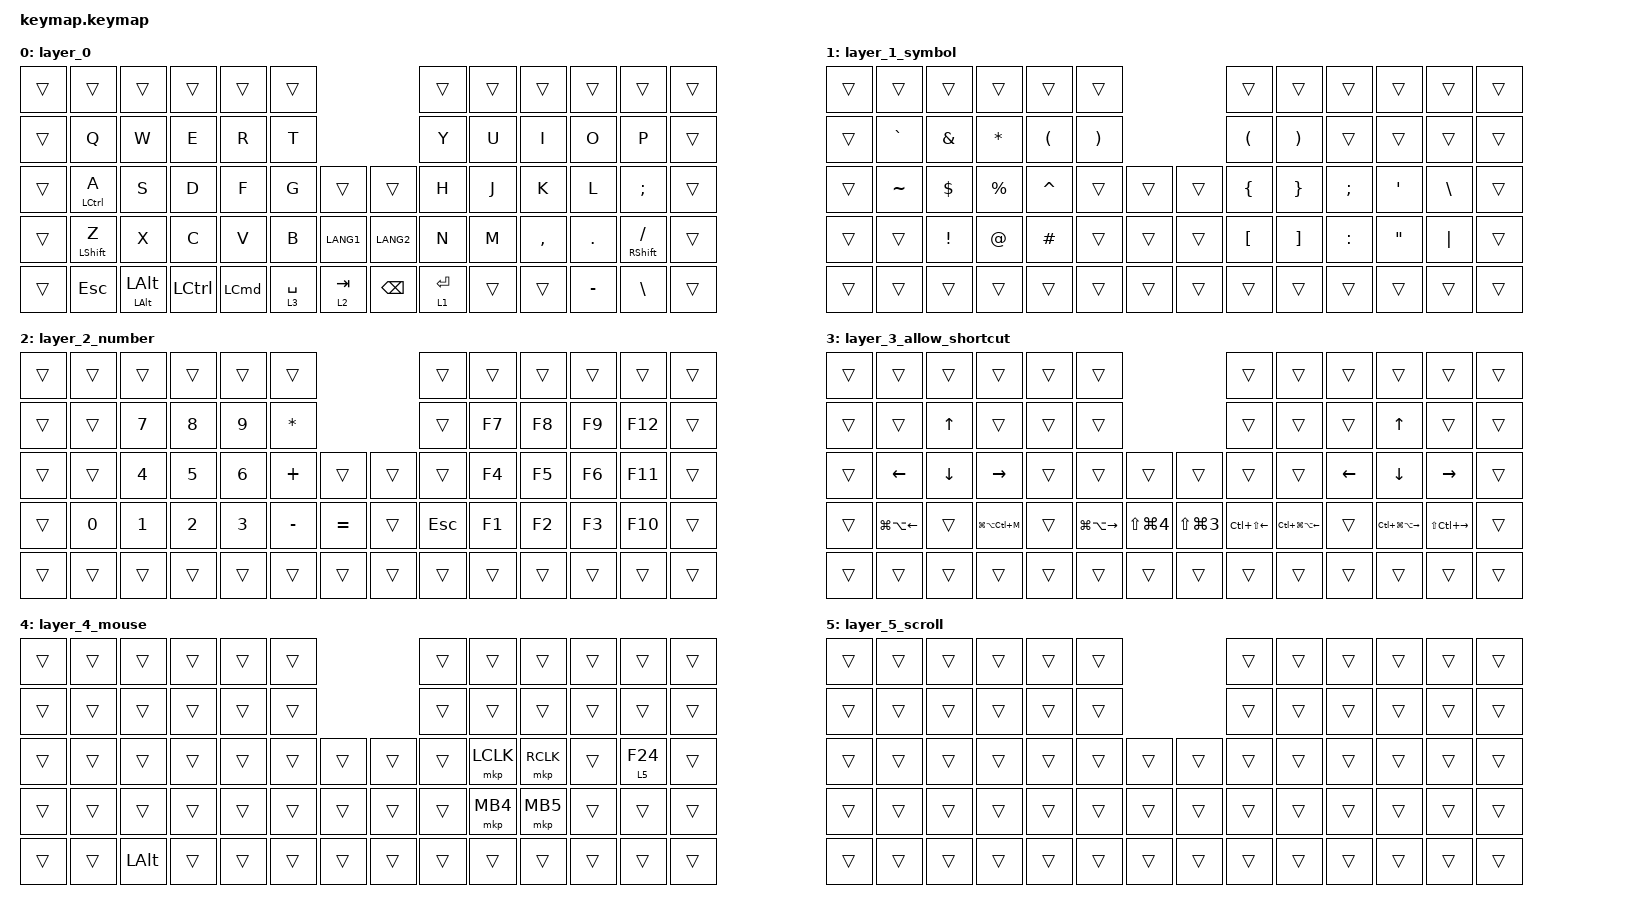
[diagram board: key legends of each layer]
#include <behaviors.dtsi>
#include <dt-bindings/zmk/bt.h>
#include <dt-bindings/zmk/keys.h>
#include <dt-bindings/zmk/pointing.h>

// Extends 10 seconds after the key is pressed
// ref: https://zenn.dev/kot149/articles/zmk-auto-mouse-layer

&mkp_input_listener { input-processors = <&zip_temp_layer 4 10000>; };

/ {
    // ref: https://zenn.dev/kot149/articles/zmk-auto-mouse-layer

    macros {
        exit_AML: exit_AML {
            compatible = "zmk,behavior-macro";
            wait-ms = <0>;
            tap-ms = <0>;
            #binding-cells = <0>;
            bindings = <&tog_off 4>;
            label = "exit_AML";
        };

        kp_exit_AML: kp_exit_AML {
            compatible = "zmk,behavior-macro-one-param";
            wait-ms = <0>;
            tap-ms = <0>;
            #binding-cells = <1>;
            bindings = <&macro_param_1to1 &kp MACRO_PLACEHOLDER &exit_AML>;
            label = "KP_exit_AML";
        };
    };

    behaviors {
        tog_off: toggle_layer_off {
            compatible = "zmk,behavior-toggle-layer";
            #binding-cells = <1>;
            display-name = "Toggle Layer Off";
            toggle-mode = "off";
        };

        mt_exit_AML_on_tap: mt_exit_AML_on_tap {
            compatible = "zmk,behavior-hold-tap";
            label = "MT_exit_AML_ON_TAP";
            bindings = <&kp>, <&kp_exit_AML>;

            #binding-cells = <2>;
            tapping-term-ms = <200>;
            flavor = "balanced";
            quick-tap-ms = <200>;
        };
    };

    combos {
        compatible = "zmk,combos";

        bt_clear {
            bindings = <&bt BT_CLR>;
            key-positions = <28 29>;
            layers = <2>;
        };
    };

    keymap {
        compatible = "zmk,keymap";

        layer_0 {
            bindings = <
&trans  &trans                            &trans                                 &trans     &trans            &trans                                 &trans       &trans  &trans     &trans     &trans                &trans
&trans  &kp Q                             &kp W                                  &kp E      &kp R             &kp T                                  &kp Y        &kp U   &kp I      &kp O      &kp P                 &trans
&trans  &mt_exit_AML_on_tap LCTRL A       &kp S                                  &kp D      &kp F             &kp G        &trans     &trans         &kp H        &kp J   &kp K      &kp L      &kp SEMI              &trans
&trans  &mt_exit_AML_on_tap LEFT_SHIFT Z  &kp X                                  &kp C      &kp V             &kp B        &kp LANG1  &kp LANG2      &kp N        &kp M   &kp COMMA  &kp DOT    &mt RIGHT_SHIFT FSLH  &trans
&trans  &kp ESCAPE                        &mt_exit_AML_on_tap LEFT_ALT LEFT_ALT  &kp LCTRL  &kp LEFT_COMMAND  &lt 3 SPACE  &lt 2 TAB  &kp BACKSPACE  &lt 1 ENTER  &trans  &trans     &kp MINUS  &kp BACKSLASH         &trans
            >;
        };

        layer_1_symbol {
            bindings = <
&trans  &trans     &trans      &trans     &trans     &trans                    &trans          &trans    &trans     &trans             &trans         &trans
&trans  &kp GRAVE  &kp AMPS    &kp ASTRK  &kp LPAR   &kp RPAR                  &kp LPAR        &kp RPAR  &trans     &trans             &trans         &trans
&trans  &kp TILDE  &kp DOLLAR  &kp PRCNT  &kp CARET  &trans    &trans  &trans  &kp LEFT_BRACE  &kp RBRC  &kp SEMI   &kp SINGLE_QUOTE   &kp BACKSLASH  &trans
&trans  &trans     &kp EXCL    &kp AT     &kp HASH   &trans    &trans  &trans  &kp LBKT        &kp RBKT  &kp COLON  &kp DOUBLE_QUOTES  &kp PIPE       &trans
&trans  &trans     &trans      &trans     &trans     &trans    &trans  &trans  &trans          &trans    &trans     &trans             &trans         &trans
            >;
        };

        layer_2_number {
            bindings = <
&trans  &trans        &trans        &trans        &trans        &trans                           &trans   &trans  &trans  &trans  &trans   &trans
&trans  &trans        &kp NUMBER_7  &kp NUMBER_8  &kp NUMBER_9  &kp ASTERISK                     &trans   &kp F7  &kp F8  &kp F9  &kp F12  &trans
&trans  &trans        &kp NUMBER_4  &kp NUMBER_5  &kp NUMBER_6  &kp PLUS      &trans     &trans  &trans   &kp F4  &kp F5  &kp F6  &kp F11  &trans
&trans  &kp NUMBER_0  &kp NUMBER_1  &kp NUMBER_2  &kp NUMBER_3  &kp MINUS     &kp EQUAL  &trans  &kp ESC  &kp F1  &kp F2  &kp F3  &kp F10  &trans
&trans  &trans        &trans        &trans        &trans        &trans        &trans     &trans  &trans   &trans  &trans  &trans  &trans   &trans
            >;
        };

        layer_3_allow_shortcut {
            bindings = <
&trans  &trans            &trans    &trans             &trans  &trans                                                         &trans            &trans                &trans    &trans                 &trans             &trans
&trans  &trans            &kp UP    &trans             &trans  &trans                                                         &trans            &trans                &trans    &kp UP                 &trans             &trans
&trans  &kp LEFT          &kp DOWN  &kp RIGHT          &trans  &trans             &trans                &trans                &trans            &trans                &kp LEFT  &kp DOWN               &kp RIGHT          &trans
&trans  &kp LG(LA(LEFT))  &trans    &kp LG(LA(LC(M)))  &trans  &kp LG(LA(RIGHT))  &kp LS(LG(NUMBER_4))  &kp LS(LG(NUMBER_3))  &kp LC(LS(LEFT))  &kp LC(LG(LA(LEFT)))  &trans    &kp LC(LG(LA(RIGHT)))  &kp LS(LC(RIGHT))  &trans
&trans  &trans            &trans    &trans             &trans  &trans             &trans                &trans                &trans            &trans                &trans    &trans                 &trans             &trans
            >;
        };

        layer_4_mouse {
            bindings = <
&trans  &trans  &trans        &trans  &trans  &trans                  &trans  &trans     &trans     &trans  &trans     &trans
&trans  &trans  &trans        &trans  &trans  &trans                  &trans  &trans     &trans     &trans  &trans     &trans
&trans  &trans  &trans        &trans  &trans  &trans  &trans  &trans  &trans  &mkp LCLK  &mkp RCLK  &trans  &lt 5 F24  &trans
&trans  &trans  &trans        &trans  &trans  &trans  &trans  &trans  &trans  &mkp MB4   &mkp MB5   &trans  &trans     &trans
&trans  &trans  &kp LEFT_ALT  &trans  &trans  &trans  &trans  &trans  &trans  &trans     &trans     &trans  &trans     &trans
            >;
        };

        layer_5_scroll {
            bindings = <
&trans  &trans  &trans  &trans  &trans  &trans                  &trans  &trans  &trans  &trans  &trans  &trans
&trans  &trans  &trans  &trans  &trans  &trans                  &trans  &trans  &trans  &trans  &trans  &trans
&trans  &trans  &trans  &trans  &trans  &trans  &trans  &trans  &trans  &trans  &trans  &trans  &trans  &trans
&trans  &trans  &trans  &trans  &trans  &trans  &trans  &trans  &trans  &trans  &trans  &trans  &trans  &trans
&trans  &trans  &trans  &trans  &trans  &trans  &trans  &trans  &trans  &trans  &trans  &trans  &trans  &trans
            >;
        };
    };
};
